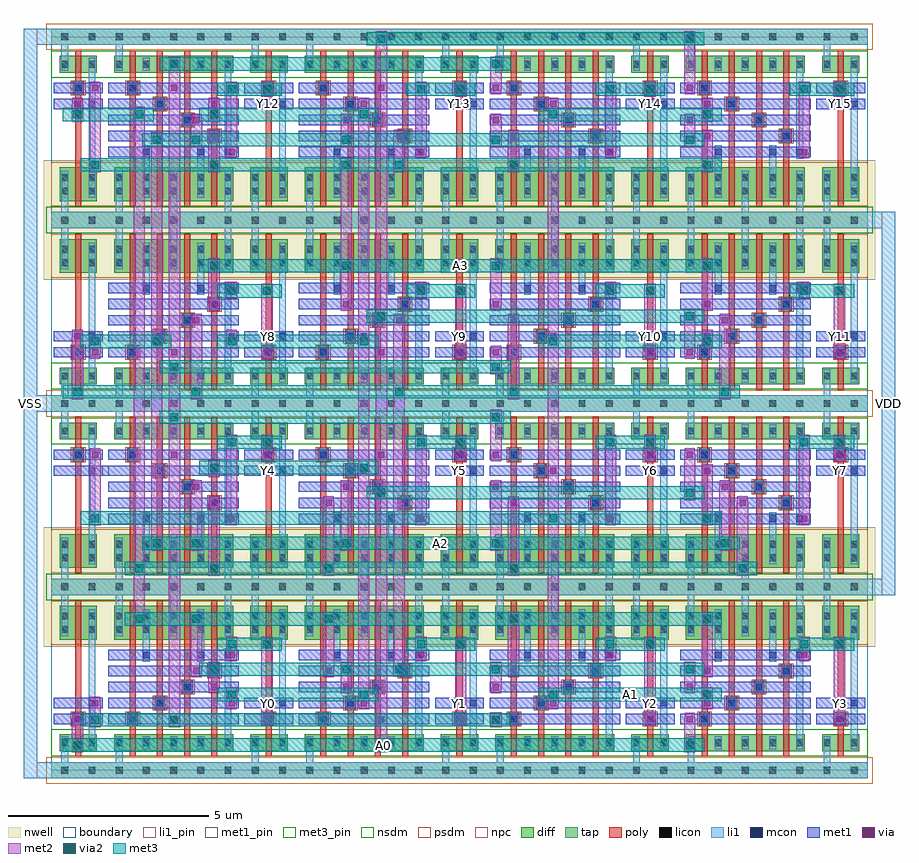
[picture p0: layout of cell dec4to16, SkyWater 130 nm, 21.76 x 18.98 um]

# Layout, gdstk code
import gdstk
lib = gdstk.Library(unit=1e-6, precision=1e-09)
def R(c, l, rs):  # rectangles x0, y0, x1, y1
    for r in rs: c.add(gdstk.rectangle(r[:2], r[2:], *l))
def A(c, l, x, y, w, h, nx, ny, dx, dy):  # array of equal rectangles
    R(c, l, [(x+i*dx, y+j*dy, x+i*dx+w, y+j*dy+h) for i in range(nx) for j in range(ny)])
nwell = (64, 20)
diff = (65, 20)
tap = (65, 44)
poly = (66, 20)
licon = (66, 44)
li1_pin = (67, 16)
li1 = (67, 20)
mcon = (67, 44)
met1_pin = (68, 16)
met1 = (68, 20)
via = (68, 44)
met2 = (69, 20)
via2 = (69, 44)
met3_pin = (70, 16)
met3 = (70, 20)
nsdm = (93, 44)
psdm = (94, 20)
npc = (95, 20)
boundary = (235, 4)

inv = lib.new_cell('inv')
R(inv, nwell, [(-0.18,3.085,1.54,4.965)])
R(inv, diff, [(0.215,0.475,1.145,0.895), (0.215,3.265,1.145,4.105)])
R(inv, tap, [(0,-0.205,1.36,0.205), (0,4.375,1.36,4.785)])
R(inv, poly, [(0.605,0.345,0.755,1.025), (0.605,1.025,0.755,3.135), (0.545,1.115,0.815,1.445), (0.605,3.135,0.755,4.235)])
R(inv, licon, [(0.255,-0.085,0.425,0.085), (0.935,-0.085,1.105,0.085), (0.255,0.6,0.425,0.77), (0.935,0.6,1.105,0.77), (0.595,1.195,0.765,1.365), (0.255,3.43,0.425,3.6), (0.935,3.43,1.105,3.6), (0.255,3.77,0.425,3.94), (0.935,3.77,1.105,3.94), (0.255,4.495,0.425,4.665), (0.935,4.495,1.105,4.665)])
R(inv, li1_pin, [(0,-0.205,1.36,0.205), (0,4.375,1.36,4.785)])
R(inv, li1, [(0,-0.205,1.36,0.205), (0.255,0,0.425,0.52), (0.255,0.52,0.425,0.85), (0.935,0.52,1.105,0.85), (0.935,0.85,1.105,1.68), (0.595,1.115,0.765,1.445), (0.935,1.515,1.105,1.845), (0.935,1.515,1.105,1.845), (0.935,1.68,1.105,3.35), (0.255,3.35,0.425,4.02), (0.935,3.35,1.105,4.02), (0.255,4.02,0.425,4.58), (0,4.375,1.36,4.785)])
R(inv, mcon, [(0.595,1.195,0.765,1.365), (0.935,1.595,1.105,1.765), (0.935,1.595,1.105,1.765)])
R(inv, met1_pin, [(0.07,1.15,1.29,1.41), (0.07,1.55,1.29,1.81)])
R(inv, met1, [(0.07,1.15,1.29,1.41), (0.495,1.165,0.865,1.395), (0.07,1.55,1.29,1.81), (0.835,1.565,1.205,1.795), (0.835,1.565,1.205,1.795)])
R(inv, nsdm, [(0,0.35,1.36,1.02), (-0.125,4.25,1.485,4.91)])
R(inv, psdm, [(-0.125,-0.33,1.485,0.33), (0,3.14,1.36,4.23)])
R(inv, npc, [(0.495,1.095,0.865,1.465)])
R(inv, boundary, [(0,0,1.36,4.58)])
inv.add(gdstk.Label('VSS', (0.68,0), layer=67, texttype=16))
inv.add(gdstk.Label('VDD', (0.68,4.58), layer=67, texttype=16))
inv.add(gdstk.Label('VSS', (0.68,0), layer=67, texttype=5))
inv.add(gdstk.Label('VDD', (0.68,4.58), layer=67, texttype=5))
inv.add(gdstk.Label('Y', (0.68,1.68), layer=68, texttype=16))
inv.add(gdstk.Label('A', (0.68,1.28), layer=68, texttype=16))
inv.add(gdstk.Label('Y', (0.68,1.68), layer=68, texttype=5))
inv.add(gdstk.Label('A', (0.68,1.28), layer=68, texttype=5))

nand4 = lib.new_cell('nand4')
R(nand4, nwell, [(-0.18,3.085,3.58,4.965)])
R(nand4, diff, [(0.215,0.475,3.185,0.895), (0.215,3.265,3.185,4.105)])
R(nand4, tap, [(0,-0.205,3.4,0.205), (0,4.375,3.4,4.785)])
A(nand4, poly, 0.605, 0.345, 0.15, 0.68, 4, 1, 0.68, 0)
A(nand4, poly, 0.605, 1.025, 0.15, 2.11, 4, 1, 0.68, 0)
A(nand4, poly, 0.605, 3.135, 0.15, 1.1, 4, 1, 0.68, 0)
R(nand4, poly, [(0.545,1.115,0.815,1.445), (1.225,1.515,1.495,1.845), (1.905,1.915,2.175,2.245), (2.585,2.315,2.855,2.645)])
A(nand4, licon, 0.255, -0.085, 0.17, 0.17, 5, 2, 0.68, 0.685)
A(nand4, licon, 0.255, 3.43, 0.17, 0.17, 5, 2, 0.68, 0.34)
A(nand4, licon, 0.255, 4.495, 0.17, 0.17, 5, 1, 0.68, 0)
R(nand4, licon, [(0.595,1.195,0.765,1.365), (1.275,1.595,1.445,1.765), (1.955,1.995,2.125,2.165), (2.635,2.395,2.805,2.565)])
R(nand4, li1_pin, [(0,-0.205,3.4,0.205), (0,4.375,3.4,4.785)])
A(nand4, li1, 0.255, 0.52, 0.17, 0.33, 5, 1, 0.68, 0)
A(nand4, li1, 0.255, 3.35, 0.17, 0.67, 5, 1, 0.68, 0)
A(nand4, li1, 0.255, 4.02, 0.17, 0.56, 3, 1, 1.36, 0)
R(nand4, li1, [(0,-0.205,3.4,0.205), (0.255,0,0.425,0.52), (2.975,0.85,3.145,2.88), (0.595,1.115,0.765,1.445), (1.275,1.515,1.445,1.845), (1.955,1.915,2.125,2.245), (2.635,2.315,2.805,2.645), (0.935,2.715,1.105,3.045), (2.295,2.715,2.465,3.045), (2.975,2.715,3.145,3.045), (0.935,2.88,1.105,3.35), (2.295,2.88,2.465,3.35), (0,4.375,3.4,4.785)])
R(nand4, mcon, [(0.595,1.195,0.765,1.365), (1.275,1.595,1.445,1.765), (1.955,1.995,2.125,2.165), (2.635,2.395,2.805,2.565), (0.935,2.795,1.105,2.965), (2.295,2.795,2.465,2.965), (2.975,2.795,3.145,2.965)])
A(nand4, met1_pin, 0.07, 1.15, 3.26, 0.26, 1, 5, 0, 0.4)
A(nand4, met1, 0.07, 1.15, 3.26, 0.26, 1, 5, 0, 0.4)
R(nand4, met1, [(0.495,1.165,0.865,1.395), (1.175,1.565,1.545,1.795), (1.855,1.965,2.225,2.195), (2.535,2.365,2.905,2.595), (0.835,2.765,1.205,2.995), (2.195,2.765,2.565,2.995), (2.875,2.765,3.245,2.995)])
R(nand4, nsdm, [(0,0.35,3.4,1.02), (-0.125,4.25,3.525,4.91)])
R(nand4, psdm, [(-0.125,-0.33,3.525,0.33), (0,3.14,3.4,4.23)])
R(nand4, npc, [(0.495,1.095,0.865,1.465), (1.175,1.495,1.545,1.865), (1.855,1.895,2.225,2.265), (2.535,2.295,2.905,2.665)])
R(nand4, boundary, [(0,0,3.4,4.58)])
nand4.add(gdstk.Label('VSS', (1.7,0), layer=67, texttype=16))
nand4.add(gdstk.Label('VDD', (1.7,4.58), layer=67, texttype=16))
nand4.add(gdstk.Label('VSS', (1.7,0), layer=67, texttype=5))
nand4.add(gdstk.Label('VDD', (1.7,4.58), layer=67, texttype=5))
nand4.add(gdstk.Label('Y', (1.7,2.88), layer=68, texttype=16))
nand4.add(gdstk.Label('A', (1.7,1.28), layer=68, texttype=16))
nand4.add(gdstk.Label('B', (1.7,1.68), layer=68, texttype=16))
nand4.add(gdstk.Label('C', (1.7,2.08), layer=68, texttype=16))
nand4.add(gdstk.Label('D', (1.7,2.48), layer=68, texttype=16))
nand4.add(gdstk.Label('Y', (1.7,2.88), layer=68, texttype=5))
nand4.add(gdstk.Label('A', (1.7,1.28), layer=68, texttype=5))
nand4.add(gdstk.Label('B', (1.7,1.68), layer=68, texttype=5))
nand4.add(gdstk.Label('C', (1.7,2.08), layer=68, texttype=5))
nand4.add(gdstk.Label('D', (1.7,2.48), layer=68, texttype=5))

dec4to16 = lib.new_cell('dec4to16')
R(dec4to16, li1_pin, [(-0.68,-0.205,-0.34,18.525), (20.74,4.375,21.08,13.945)])
A(dec4to16, li1, -0.68, -0.205, 0.68, 0.41, 1, 3, 0, 9.16)
R(dec4to16, li1, [(-0.68,-0.205,-0.34,18.525), (20.4,4.375,21.08,4.785), (20.74,4.375,21.08,13.945), (20.4,13.535,21.08,13.945)])
A(dec4to16, met1_pin, 4.83, 1.55, 1.22, 0.26, 4, 2, 4.76, 5.8)
A(dec4to16, met1_pin, 4.83, 10.71, 1.22, 0.26, 4, 2, 4.76, 5.8)
A(dec4to16, met1, 4.35, 2.75, 0.32, 0.26, 3, 2, 4.73, 3.4)
A(dec4to16, met1, 3.47, 6.95, 0.32, 0.26, 3, 2, 3.74, 9.16)
A(dec4to16, met1, 4.35, 11.91, 0.32, 0.26, 3, 2, 4.73, 3.4)
R(dec4to16, met1, [(0.5,1.15,0.82,1.41), (2.92,1.15,3.24,1.41), (5.23,1.15,5.55,1.41), (8.09,1.15,8.41,1.41), (10.07,1.15,10.39,1.41), (10.95,1.15,11.27,1.41), (14.8,1.15,15.12,1.41), (15.79,1.15,16.11,1.41), (19.53,1.15,19.85,1.41), (0.94,1.55,1.26,1.81), (4.35,1.55,4.67,1.81), (7.65,1.55,7.97,1.81), (12.38,1.55,12.7,1.81), (16.23,1.55,16.55,1.81), (3.91,1.95,4.23,2.21), (7.21,1.95,7.53,2.21), (10.95,1.95,11.27,2.21), (15.79,1.95,16.11,2.21), (3.47,2.35,3.79,2.61), (6.77,2.35,7.09,2.61), (11.39,2.35,11.71,2.61), (16.23,2.35,16.55,2.61), (18.65,2.75,18.97,3.01), (18.65,6.15,18.97,6.41), (3.91,6.55,4.23,6.81), (6.77,6.55,7.09,6.81), (11.39,6.55,11.71,6.81), (17.11,6.55,17.43,6.81), (16.67,6.95,16.99,7.21), (1.29,7.35,1.43,7.61), (3.91,7.35,4.23,7.61), (7.65,7.35,7.97,7.61), (12.38,7.35,12.7,7.61), (16.23,7.35,16.55,7.61), (0.94,7.75,1.26,8.01), (2.92,7.75,3.24,8.01), (5.23,7.75,5.55,8.01), (8.09,7.75,8.41,8.01), (10.07,7.75,10.39,8.01), (10.95,7.75,11.27,8.01), (14.8,7.75,15.12,8.01), (15.79,7.75,16.11,8.01), (19.53,7.75,19.85,8.01), (0.94,10.31,1.26,10.57), (2.92,10.31,3.24,10.57), (5.23,10.31,5.55,10.57), (8.09,10.31,8.41,10.57), (10.07,10.31,10.39,10.57), (10.95,10.31,11.27,10.57), (14.8,10.31,15.12,10.57), (15.79,10.31,16.11,10.57), (19.53,10.31,19.85,10.57), (0.5,10.71,0.82,10.97), (4.35,10.71,4.67,10.97), (7.65,10.71,7.97,10.97), (12.38,10.71,12.7,10.97), (16.23,10.71,16.55,10.97), (3.47,11.11,3.79,11.37), (8.53,11.11,8.85,11.37), (11.39,11.11,11.71,11.37), (16.67,11.11,16.99,11.37), (3.91,11.51,4.23,11.77), (7.21,11.51,7.53,11.77), (10.95,11.51,11.27,11.77), (16.23,11.51,16.55,11.77), (18.65,11.91,18.97,12.17), (18.65,15.31,18.97,15.57), (3.91,15.71,4.23,15.97), (8.53,15.71,8.85,15.97), (11.39,15.71,11.71,15.97), (16.23,15.71,16.55,15.97), (15.79,16.11,16.11,16.37), (0.5,16.51,0.82,16.77), (3.91,16.51,4.23,16.77), (7.65,16.51,7.97,16.77), (12.38,16.51,12.7,16.77), (16.23,16.51,16.55,16.77), (0.94,16.91,1.26,17.17), (2.92,16.91,3.24,17.17), (5.23,16.91,5.55,17.17), (8.09,16.91,8.41,17.17), (10.07,16.91,10.39,17.17), (10.95,16.91,11.27,17.17), (14.8,16.91,15.12,17.17), (15.79,16.91,16.11,17.17), (19.53,16.91,19.85,17.17)])
A(dec4to16, via, 4.435, 2.805, 0.15, 0.15, 3, 2, 4.73, 3.4)
A(dec4to16, via, 3.555, 7.005, 0.15, 0.15, 3, 2, 3.74, 9.16)
A(dec4to16, via, 4.435, 11.965, 0.15, 0.15, 3, 2, 4.73, 3.4)
R(dec4to16, via, [(0.585,1.205,0.735,1.355), (3.005,1.205,3.155,1.355), (5.315,1.205,5.465,1.355), (8.175,1.205,8.325,1.355), (10.155,1.205,10.305,1.355), (11.035,1.205,11.185,1.355), (14.885,1.205,15.035,1.355), (15.875,1.205,16.025,1.355), (19.615,1.205,19.765,1.355), (1.025,1.605,1.175,1.755), (4.435,1.605,4.585,1.755), (7.735,1.605,7.885,1.755), (12.465,1.605,12.615,1.755), (16.315,1.605,16.465,1.755), (3.995,2.005,4.145,2.155), (7.295,2.005,7.445,2.155), (11.035,2.005,11.185,2.155), (15.875,2.005,16.025,2.155), (3.555,2.405,3.705,2.555), (6.855,2.405,7.005,2.555), (11.475,2.405,11.625,2.555), (16.315,2.405,16.465,2.555), (18.735,2.805,18.885,2.955), (18.735,6.205,18.885,6.355), (3.995,6.605,4.145,6.755), (6.855,6.605,7.005,6.755), (11.475,6.605,11.625,6.755), (17.195,6.605,17.345,6.755), (16.755,7.005,16.905,7.155), (3.995,7.405,4.145,7.555), (7.735,7.405,7.885,7.555), (12.465,7.405,12.615,7.555), (16.315,7.405,16.465,7.555), (1.025,7.805,1.175,7.955), (3.005,7.805,3.155,7.955), (5.315,7.805,5.465,7.955), (8.175,7.805,8.325,7.955), (10.155,7.805,10.305,7.955), (11.035,7.805,11.185,7.955), (14.885,7.805,15.035,7.955), (15.875,7.805,16.025,7.955), (19.615,7.805,19.765,7.955), (1.025,10.365,1.175,10.515), (3.005,10.365,3.155,10.515), (5.315,10.365,5.465,10.515), (8.175,10.365,8.325,10.515), (10.155,10.365,10.305,10.515), (11.035,10.365,11.185,10.515), (14.885,10.365,15.035,10.515), (15.875,10.365,16.025,10.515), (19.615,10.365,19.765,10.515), (0.585,10.765,0.735,10.915), (4.435,10.765,4.585,10.915), (7.735,10.765,7.885,10.915), (12.465,10.765,12.615,10.915), (16.315,10.765,16.465,10.915), (3.555,11.165,3.705,11.315), (8.615,11.165,8.765,11.315), (11.475,11.165,11.625,11.315), (16.755,11.165,16.905,11.315), (3.995,11.565,4.145,11.715), (7.295,11.565,7.445,11.715), (11.035,11.565,11.185,11.715), (16.315,11.565,16.465,11.715), (18.735,11.965,18.885,12.115), (18.735,15.365,18.885,15.515), (3.995,15.765,4.145,15.915), (8.615,15.765,8.765,15.915), (11.475,15.765,11.625,15.915), (16.315,15.765,16.465,15.915), (15.875,16.165,16.025,16.315), (0.585,16.565,0.735,16.715), (3.995,16.565,4.145,16.715), (7.735,16.565,7.885,16.715), (12.465,16.565,12.615,16.715), (16.315,16.565,16.465,16.715), (1.025,16.965,1.175,17.115), (3.005,16.965,3.155,17.115), (5.315,16.965,5.465,17.115), (8.175,16.965,8.325,17.115), (10.155,16.965,10.305,17.115), (11.035,16.965,11.185,17.115), (14.885,16.965,15.035,17.115), (15.875,16.965,16.025,17.115), (19.615,16.965,19.765,17.115)])
A(dec4to16, met2, 10.09, 1.28, 0.28, 1.87, 3, 1, 4.73, 0)
A(dec4to16, met2, 3.93, 2.335, 0.28, 0.37, 1, 3, 0, 2.52)
A(dec4to16, met2, 15.81, 2.335, 0.28, 0.37, 1, 4, 0, 4.41)
A(dec4to16, met2, 4.38, 2.72, 0.26, 0.32, 3, 2, 4.73, 3.4)
A(dec4to16, met2, 4.37, 2.88, 0.28, 0.27, 3, 1, 4.73, 0)
A(dec4to16, met2, 2.5, 5.485, 0.28, 0.37, 1, 3, 0, 5.04)
A(dec4to16, met2, 3.49, 5.485, 0.28, 0.37, 3, 2, 3.74, 10.08)
A(dec4to16, met2, 3.49, 5.67, 0.28, 1.41, 3, 1, 3.74, 0)
A(dec4to16, met2, 0.96, 6.115, 0.28, 0.37, 1, 3, 0, 4.41)
A(dec4to16, met2, 4.37, 6.28, 0.28, 1.91, 3, 1, 4.73, 0)
A(dec4to16, met2, 3.5, 6.92, 0.26, 0.32, 3, 2, 3.74, 9.16)
A(dec4to16, met2, 10.09, 7.88, 0.28, 0.31, 3, 1, 4.73, 0)
A(dec4to16, met2, 10.09, 10.44, 0.28, 1.53, 3, 1, 4.73, 0)
A(dec4to16, met2, 4.38, 11.88, 0.26, 0.32, 3, 2, 4.73, 3.4)
A(dec4to16, met2, 4.37, 11.97, 0.28, 0.07, 3, 1, 4.73, 0)
A(dec4to16, met2, 4.37, 15.44, 0.28, 1.57, 3, 1, 4.73, 0)
A(dec4to16, met2, 3.49, 15.75, 0.28, 0.49, 3, 1, 3.74, 0)
A(dec4to16, met2, 10.09, 17.01, 0.28, 0.03, 3, 1, 4.73, 0)
R(dec4to16, met2, [(0.52,0.445,0.8,0.815), (8.11,0.445,8.39,0.815), (8.11,0.445,8.39,0.815), (15.81,0.445,16.09,0.815), (0.52,0.63,0.8,1.28), (8.11,0.63,8.39,18.27), (8.11,0.63,8.39,1.28), (15.81,0.63,16.09,1.28), (0.96,1.075,1.24,1.445), (2.94,1.075,3.22,1.445), (2.94,1.075,3.22,1.445), (10.97,1.075,11.25,1.445), (0.53,1.12,0.79,1.44), (2.95,1.12,3.21,1.44), (5.26,1.12,5.52,1.44), (8.12,1.12,8.38,1.44), (10.1,1.12,10.36,1.44), (10.98,1.12,11.24,1.44), (14.83,1.12,15.09,1.44), (15.82,1.12,16.08,1.44), (19.56,1.12,19.82,1.44), (0.96,1.26,1.24,1.68), (2.94,1.26,3.22,17.64), (2.94,1.26,3.22,1.28), (10.97,1.26,11.25,1.28), (5.25,1.28,5.53,3.15), (0.97,1.52,1.23,1.84), (4.38,1.52,4.64,1.84), (7.68,1.52,7.94,1.84), (12.41,1.52,12.67,1.84), (16.26,1.52,16.52,1.84), (4.37,1.68,4.65,1.89), (7.67,1.68,7.95,1.89), (12.4,1.68,12.68,1.89), (16.25,1.68,16.53,1.89), (4.37,1.705,4.65,2.075), (7.67,1.705,7.95,2.075), (7.67,1.705,7.95,2.075), (12.4,1.705,12.68,2.075), (12.4,1.705,12.68,2.075), (16.25,1.705,16.53,2.075), (7.67,1.89,7.95,16.38), (12.4,1.89,12.68,16.38), (3.94,1.92,4.2,2.24), (7.24,1.92,7.5,2.24), (10.98,1.92,11.24,2.24), (15.82,1.92,16.08,2.24), (3.93,2.08,4.21,2.52), (7.23,2.08,7.51,2.52), (10.97,2.08,11.25,2.52), (15.81,2.08,16.09,2.52), (3.5,2.32,3.76,2.64), (6.8,2.32,7.06,2.64), (11.42,2.32,11.68,2.64), (16.26,2.32,16.52,2.64), (7.23,2.335,7.51,2.705), (8.55,2.335,8.83,2.705), (10.97,2.335,11.25,2.705), (3.49,2.48,3.77,3.78), (6.79,2.48,7.07,3.78), (11.41,2.48,11.69,3.78), (16.25,2.48,16.53,3.78), (8.55,2.52,8.83,9.45), (18.68,2.72,18.94,3.04), (18.67,2.88,18.95,3.15), (4.37,2.965,4.65,3.335), (5.25,2.965,5.53,3.335), (9.1,2.965,9.38,3.335), (10.09,2.965,10.37,3.335), (13.83,2.965,14.11,3.335), (14.82,2.965,15.1,3.335), (18.67,2.965,18.95,3.335), (19.55,2.965,19.83,3.335), (2.06,3.595,2.34,3.965), (3.49,3.595,3.77,3.965), (6.79,3.595,7.07,3.965), (11.41,3.595,11.69,3.965), (16.25,3.595,16.53,3.965), (2.06,3.78,2.34,16.38), (2.06,4.855,2.34,5.225), (6.79,4.855,7.07,5.225), (11.41,4.855,11.69,5.225), (17.13,4.855,17.41,5.225), (3.93,5.04,4.21,6.68), (6.79,5.04,7.07,6.68), (11.41,5.04,11.69,6.68), (17.13,5.04,17.41,6.68), (16.69,5.485,16.97,5.855), (2.5,5.67,2.78,15.75), (16.69,5.67,16.97,7.08), (12.4,6.115,12.68,6.485), (12.4,6.115,12.68,6.485), (16.25,6.115,16.53,6.485), (18.68,6.12,18.94,6.44), (18.67,6.28,18.95,8.19), (0.96,6.3,1.24,7.88), (12.4,6.3,12.68,7.48), (16.25,6.3,16.53,7.48), (3.94,6.52,4.2,6.84), (6.8,6.52,7.06,6.84), (11.42,6.52,11.68,6.84), (17.14,6.52,17.4,6.84), (8.11,6.745,8.39,7.115), (8.11,6.745,8.39,7.115), (16.7,6.92,16.96,7.24), (8.11,6.93,8.39,7.88), (15.81,6.93,16.09,7.88), (3.94,7.32,4.2,7.64), (7.68,7.32,7.94,7.64), (12.41,7.32,12.67,7.64), (16.26,7.32,16.52,7.64), (7.67,7.375,7.95,7.745), (7.67,7.375,7.95,7.745), (3.93,7.48,4.21,7.56), (7.67,7.48,7.95,7.56), (0.97,7.72,1.23,8.04), (2.95,7.72,3.21,8.04), (5.26,7.72,5.52,8.04), (8.12,7.72,8.38,8.04), (10.1,7.72,10.36,8.04), (10.98,7.72,11.24,8.04), (14.83,7.72,15.09,8.04), (15.82,7.72,16.08,8.04), (19.56,7.72,19.82,8.04), (2.94,7.88,3.22,8.82), (5.25,7.88,5.53,8.19), (10.97,7.88,11.25,8.82), (4.37,8.005,4.65,8.375), (5.25,8.005,5.53,8.375), (9.1,8.005,9.38,8.375), (10.09,8.005,10.37,8.375), (13.83,8.005,14.11,8.375), (14.82,8.005,15.1,8.375), (18.67,8.005,18.95,8.375), (19.55,8.005,19.83,8.375), (2.94,8.635,3.22,9.005), (2.94,8.635,3.22,9.005), (10.97,8.635,11.25,9.005), (0.52,9.265,0.8,9.635), (3.49,9.265,3.77,9.635), (8.55,9.265,8.83,9.635), (8.55,9.265,8.83,9.635), (11.41,9.265,11.69,9.635), (16.69,9.265,16.97,9.635), (0.52,9.45,0.8,10.84), (3.49,9.45,3.77,11.24), (8.55,9.45,8.83,11.24), (11.41,9.45,11.69,11.24), (16.69,9.45,16.97,11.24), (2.94,9.895,3.22,10.265), (2.94,9.895,3.22,10.265), (10.97,9.895,11.25,10.265), (2.94,10.08,3.22,10.44), (10.97,10.08,11.25,10.44), (0.97,10.28,1.23,10.6), (2.95,10.28,3.21,10.6), (5.26,10.28,5.52,10.6), (8.12,10.28,8.38,10.6), (10.1,10.28,10.36,10.6), (10.98,10.28,11.24,10.6), (14.83,10.28,15.09,10.6), (15.82,10.28,16.08,10.6), (19.56,10.28,19.82,10.6), (0.96,10.44,1.24,10.71), (5.25,10.44,5.53,11.97), (8.11,10.44,8.39,11.34), (15.81,10.44,16.09,11.34), (4.37,10.525,4.65,10.895), (7.67,10.525,7.95,10.895), (7.67,10.525,7.95,10.895), (12.4,10.525,12.68,10.895), (12.4,10.525,12.68,10.895), (16.25,10.525,16.53,10.895), (0.53,10.68,0.79,11), (4.38,10.68,4.64,11), (7.68,10.68,7.94,11), (12.41,10.68,12.67,11), (16.26,10.68,16.52,11), (4.37,10.71,4.65,10.84), (7.67,10.71,7.95,10.84), (12.4,10.71,12.68,10.84), (16.25,10.71,16.53,10.84), (3.5,11.08,3.76,11.4), (8.56,11.08,8.82,11.4), (11.42,11.08,11.68,11.4), (16.7,11.08,16.96,11.4), (8.11,11.155,8.39,11.525), (8.11,11.155,8.39,11.525), (3.94,11.48,4.2,11.8), (7.24,11.48,7.5,11.8), (10.98,11.48,11.24,11.8), (16.26,11.48,16.52,11.8), (3.93,11.64,4.21,12.6), (7.23,11.64,7.51,12.6), (10.97,11.64,11.25,12.6), (16.25,11.64,16.53,12.6), (4.37,11.785,4.65,12.155), (5.25,11.785,5.53,12.155), (9.1,11.785,9.38,12.155), (10.09,11.785,10.37,12.155), (13.83,11.785,14.11,12.155), (14.82,11.785,15.1,12.155), (18.67,11.785,18.95,12.155), (19.55,11.785,19.83,12.155), (18.68,11.88,18.94,12.2), (18.67,11.97,18.95,12.04), (3.93,12.415,4.21,12.785), (7.23,12.415,7.51,12.785), (7.23,12.415,7.51,12.785), (10.97,12.415,11.25,12.785), (16.25,12.415,16.53,12.785), (7.23,12.6,7.51,15.12), (3.93,14.935,4.21,15.305), (7.23,14.935,7.51,15.305), (8.55,14.935,8.83,15.305), (11.41,14.935,11.69,15.305), (16.25,14.935,16.53,15.305), (0.96,15.12,1.24,17.04), (3.93,15.12,4.21,15.84), (8.55,15.12,8.83,15.84), (11.41,15.12,11.69,15.84), (16.25,15.12,16.53,15.84), (18.68,15.28,18.94,15.6), (18.67,15.44,18.95,17.01), (3.94,15.68,4.2,16), (8.56,15.68,8.82,16), (11.42,15.68,11.68,16), (16.26,15.68,16.52,16), (15.81,15.75,16.09,16.24), (15.82,16.08,16.08,16.4), (0.52,16.195,0.8,16.565), (2.06,16.195,2.34,16.565), (3.93,16.195,4.21,16.565), (7.67,16.195,7.95,16.565), (7.67,16.195,7.95,16.565), (12.4,16.195,12.68,16.565), (12.4,16.195,12.68,16.565), (16.25,16.195,16.53,16.565), (0.52,16.38,0.8,16.64), (3.93,16.38,4.21,16.64), (7.67,16.38,7.95,16.64), (12.4,16.38,12.68,16.64), (16.25,16.38,16.53,16.64), (0.53,16.48,0.79,16.8), (3.94,16.48,4.2,16.8), (7.68,16.48,7.94,16.8), (12.41,16.48,12.67,16.8), (16.26,16.48,16.52,16.8), (4.37,16.825,4.65,17.195), (5.25,16.825,5.53,17.195), (9.1,16.825,9.38,17.195), (10.09,16.825,10.37,17.195), (13.83,16.825,14.11,17.195), (14.82,16.825,15.1,17.195), (18.67,16.825,18.95,17.195), (19.55,16.825,19.83,17.195), (0.97,16.88,1.23,17.2), (2.95,16.88,3.21,17.2), (5.26,16.88,5.52,17.2), (8.12,16.88,8.38,17.2), (10.1,16.88,10.36,17.2), (10.98,16.88,11.24,17.2), (14.83,16.88,15.09,17.2), (15.82,16.88,16.08,17.2), (19.56,16.88,19.82,17.2), (5.25,17.01,5.53,17.04), (2.94,17.04,3.22,17.64), (8.11,17.04,8.39,18.27), (10.97,17.04,11.25,17.64), (15.81,17.04,16.09,18.27), (2.94,17.455,3.22,17.825), (2.94,17.455,3.22,17.825), (10.97,17.455,11.25,17.825), (8.11,18.085,8.39,18.455), (8.11,18.085,8.39,18.455), (15.81,18.085,16.09,18.455)])
A(dec4to16, via2, 3.97, 2.42, 0.2, 0.2, 1, 3, 0, 2.52)
A(dec4to16, via2, 15.85, 2.42, 0.2, 0.2, 1, 4, 0, 4.41)
A(dec4to16, via2, 2.54, 5.57, 0.2, 0.2, 1, 3, 0, 5.04)
A(dec4to16, via2, 3.53, 5.57, 0.2, 0.2, 3, 2, 3.74, 10.08)
A(dec4to16, via2, 1, 6.2, 0.2, 0.2, 1, 3, 0, 4.41)
R(dec4to16, via2, [(0.56,0.53,0.76,0.73), (8.15,0.53,8.35,0.73), (8.15,0.53,8.35,0.73), (15.85,0.53,16.05,0.73), (1,1.16,1.2,1.36), (2.98,1.16,3.18,1.36), (2.98,1.16,3.18,1.36), (11.01,1.16,11.21,1.36), (4.41,1.79,4.61,1.99), (7.71,1.79,7.91,1.99), (7.71,1.79,7.91,1.99), (12.44,1.79,12.64,1.99), (12.44,1.79,12.64,1.99), (16.29,1.79,16.49,1.99), (7.27,2.42,7.47,2.62), (8.59,2.42,8.79,2.62), (11.01,2.42,11.21,2.62), (4.41,3.05,4.61,3.25), (5.29,3.05,5.49,3.25), (9.14,3.05,9.34,3.25), (10.13,3.05,10.33,3.25), (13.87,3.05,14.07,3.25), (14.86,3.05,15.06,3.25), (18.71,3.05,18.91,3.25), (19.59,3.05,19.79,3.25), (2.1,3.68,2.3,3.88), (3.53,3.68,3.73,3.88), (6.83,3.68,7.03,3.88), (11.45,3.68,11.65,3.88), (16.29,3.68,16.49,3.88), (2.1,4.94,2.3,5.14), (6.83,4.94,7.03,5.14), (11.45,4.94,11.65,5.14), (17.17,4.94,17.37,5.14), (16.73,5.57,16.93,5.77), (12.44,6.2,12.64,6.4), (12.44,6.2,12.64,6.4), (16.29,6.2,16.49,6.4), (8.15,6.83,8.35,7.03), (8.15,6.83,8.35,7.03), (7.71,7.46,7.91,7.66), (7.71,7.46,7.91,7.66), (4.41,8.09,4.61,8.29), (5.29,8.09,5.49,8.29), (9.14,8.09,9.34,8.29), (10.13,8.09,10.33,8.29), (13.87,8.09,14.07,8.29), (14.86,8.09,15.06,8.29), (18.71,8.09,18.91,8.29), (19.59,8.09,19.79,8.29), (2.98,8.72,3.18,8.92), (2.98,8.72,3.18,8.92), (11.01,8.72,11.21,8.92), (0.56,9.35,0.76,9.55), (3.53,9.35,3.73,9.55), (8.59,9.35,8.79,9.55), (8.59,9.35,8.79,9.55), (11.45,9.35,11.65,9.55), (16.73,9.35,16.93,9.55), (2.98,9.98,3.18,10.18), (2.98,9.98,3.18,10.18), (11.01,9.98,11.21,10.18), (4.41,10.61,4.61,10.81), (7.71,10.61,7.91,10.81), (7.71,10.61,7.91,10.81), (12.44,10.61,12.64,10.81), (12.44,10.61,12.64,10.81), (16.29,10.61,16.49,10.81), (8.15,11.24,8.35,11.44), (8.15,11.24,8.35,11.44), (4.41,11.87,4.61,12.07), (5.29,11.87,5.49,12.07), (9.14,11.87,9.34,12.07), (10.13,11.87,10.33,12.07), (13.87,11.87,14.07,12.07), (14.86,11.87,15.06,12.07), (18.71,11.87,18.91,12.07), (19.59,11.87,19.79,12.07), (3.97,12.5,4.17,12.7), (7.27,12.5,7.47,12.7), (7.27,12.5,7.47,12.7), (11.01,12.5,11.21,12.7), (16.29,12.5,16.49,12.7), (3.97,15.02,4.17,15.22), (7.27,15.02,7.47,15.22), (8.59,15.02,8.79,15.22), (11.45,15.02,11.65,15.22), (16.29,15.02,16.49,15.22), (0.56,16.28,0.76,16.48), (2.1,16.28,2.3,16.48), (3.97,16.28,4.17,16.48), (7.71,16.28,7.91,16.48), (7.71,16.28,7.91,16.48), (12.44,16.28,12.64,16.48), (12.44,16.28,12.64,16.48), (16.29,16.28,16.49,16.48), (4.41,16.91,4.61,17.11), (5.29,16.91,5.49,17.11), (9.14,16.91,9.34,17.11), (10.13,16.91,10.33,17.11), (13.87,16.91,14.07,17.11), (14.86,16.91,15.06,17.11), (18.71,16.91,18.91,17.11), (19.59,16.91,19.79,17.11), (2.98,17.54,3.18,17.74), (2.98,17.54,3.18,17.74), (11.01,17.54,11.21,17.74), (8.15,18.17,8.35,18.37), (8.15,18.17,8.35,18.37), (15.85,18.17,16.05,18.37)])
R(dec4to16, met3_pin, [(0.66,0.465,15.95,0.795), (12.54,1.725,16.39,2.055), (2.64,5.505,16.83,5.835), (4.07,12.435,16.39,12.765)])
A(dec4to16, met3, 3.705, 2.355, 0.73, 0.33, 1, 3, 0, 2.52)
A(dec4to16, met3, 15.585, 2.355, 0.73, 0.33, 1, 4, 0, 4.41)
A(dec4to16, met3, 2.275, 5.505, 0.73, 0.33, 1, 3, 0, 5.04)
A(dec4to16, met3, 3.265, 5.505, 0.73, 0.33, 3, 2, 3.74, 10.08)
A(dec4to16, met3, 0.735, 6.135, 0.73, 0.33, 1, 3, 0, 4.41)
R(dec4to16, met3, [(0.295,0.465,1.025,0.795), (0.66,0.465,15.95,0.795), (7.885,0.465,8.615,0.795), (7.885,0.465,8.615,0.795), (15.585,0.465,16.315,0.795), (0.735,1.095,1.465,1.425), (1.1,1.095,11.11,1.425), (2.715,1.095,3.445,1.425), (2.715,1.095,3.445,1.425), (10.745,1.095,11.475,1.425), (4.145,1.725,4.875,2.055), (4.51,1.725,7.81,2.055), (7.445,1.725,8.175,2.055), (7.445,1.725,8.175,2.055), (12.175,1.725,12.905,2.055), (12.175,1.725,12.905,2.055), (12.54,1.725,16.39,2.055), (16.025,1.725,16.755,2.055), (4.07,2.355,15.95,2.685), (7.005,2.355,7.735,2.685), (8.325,2.355,9.055,2.685), (10.745,2.355,11.475,2.685), (4.145,2.985,4.875,3.315), (4.51,2.985,5.39,3.315), (5.025,2.985,5.755,3.315), (8.875,2.985,9.605,3.315), (9.24,2.985,10.23,3.315), (9.865,2.985,10.595,3.315), (13.605,2.985,14.335,3.315), (13.97,2.985,14.96,3.315), (14.595,2.985,15.325,3.315), (18.445,2.985,19.175,3.315), (18.81,2.985,19.69,3.315), (19.325,2.985,20.055,3.315), (1.835,3.615,2.565,3.945), (2.2,3.615,16.39,3.945), (3.265,3.615,3.995,3.945), (6.565,3.615,7.295,3.945), (11.185,3.615,11.915,3.945), (16.025,3.615,16.755,3.945), (1.835,4.875,2.565,5.205), (2.2,4.875,17.27,5.205), (6.565,4.875,7.295,5.205), (11.185,4.875,11.915,5.205), (16.905,4.875,17.635,5.205), (2.64,5.505,16.83,5.835), (16.465,5.505,17.195,5.835), (1.1,6.135,16.39,6.465), (12.175,6.135,12.905,6.465), (12.175,6.135,12.905,6.465), (16.025,6.135,16.755,6.465), (7.885,6.765,8.615,7.095), (7.885,6.765,8.615,7.095), (8.25,6.765,15.95,7.095), (4.07,7.395,7.81,7.725), (7.445,7.395,8.175,7.725), (7.445,7.395,8.175,7.725), (4.145,8.025,4.875,8.355), (4.51,8.025,5.39,8.355), (5.025,8.025,5.755,8.355), (8.875,8.025,9.605,8.355), (9.24,8.025,10.23,8.355), (9.865,8.025,10.595,8.355), (13.605,8.025,14.335,8.355), (13.97,8.025,14.96,8.355), (14.595,8.025,15.325,8.355), (18.445,8.025,19.175,8.355), (18.81,8.025,19.69,8.355), (19.325,8.025,20.055,8.355), (2.715,8.655,3.445,8.985), (2.715,8.655,3.445,8.985), (3.08,8.655,11.11,8.985), (10.745,8.655,11.475,8.985), (0.295,9.285,1.025,9.615), (0.66,9.285,16.83,9.615), (3.265,9.285,3.995,9.615), (8.325,9.285,9.055,9.615), (8.325,9.285,9.055,9.615), (11.185,9.285,11.915,9.615), (16.465,9.285,17.195,9.615), (2.715,9.915,3.445,10.245), (2.715,9.915,3.445,10.245), (3.08,9.915,11.11,10.245), (10.745,9.915,11.475,10.245), (1.1,10.545,2.64,10.875), (4.145,10.545,4.875,10.875), (4.51,10.545,7.81,10.875), (7.445,10.545,8.175,10.875), (7.445,10.545,8.175,10.875), (12.175,10.545,12.905,10.875), (12.175,10.545,12.905,10.875), (12.54,10.545,16.39,10.875), (16.025,10.545,16.755,10.875), (7.885,11.175,8.615,11.505), (7.885,11.175,8.615,11.505), (8.25,11.175,15.95,11.505), (4.145,11.805,4.875,12.135), (4.51,11.805,5.39,12.135), (5.025,11.805,5.755,12.135), (8.875,11.805,9.605,12.135), (9.24,11.805,10.23,12.135), (9.865,11.805,10.595,12.135), (13.605,11.805,14.335,12.135), (13.97,11.805,14.96,12.135), (14.595,11.805,15.325,12.135), (18.445,11.805,19.175,12.135), (18.81,11.805,19.69,12.135), (19.325,11.805,20.055,12.135), (3.705,12.435,4.435,12.765), (4.07,12.435,16.39,12.765), (7.005,12.435,7.735,12.765), (7.005,12.435,7.735,12.765), (10.745,12.435,11.475,12.765), (16.025,12.435,16.755,12.765), (1.1,14.955,16.39,15.285), (3.705,14.955,4.435,15.285), (7.005,14.955,7.735,15.285), (8.325,14.955,9.055,15.285), (11.185,14.955,11.915,15.285), (16.025,14.955,16.755,15.285), (2.64,15.585,15.95,15.915), (0.295,16.215,1.025,16.545), (0.66,16.215,2.2,16.545), (1.835,16.215,2.565,16.545), (3.705,16.215,4.435,16.545), (4.07,16.215,7.81,16.545), (7.445,16.215,8.175,16.545), (7.445,16.215,8.175,16.545), (12.175,16.215,12.905,16.545), (12.175,16.215,12.905,16.545), (12.54,16.215,16.39,16.545), (16.025,16.215,16.755,16.545), (4.145,16.845,4.875,17.175), (4.51,16.845,5.39,17.175), (5.025,16.845,5.755,17.175), (8.875,16.845,9.605,17.175), (9.24,16.845,10.23,17.175), (9.865,16.845,10.595,17.175), (13.605,16.845,14.335,17.175), (13.97,16.845,14.96,17.175), (14.595,16.845,15.325,17.175), (18.445,16.845,19.175,17.175), (18.81,16.845,19.69,17.175), (19.325,16.845,20.055,17.175), (2.715,17.475,3.445,17.805), (2.715,17.475,3.445,17.805), (3.08,17.475,11.11,17.805), (10.745,17.475,11.475,17.805), (7.885,18.105,8.615,18.435), (7.885,18.105,8.615,18.435), (8.25,18.105,15.95,18.435), (15.585,18.105,16.315,18.435)])
dec4to16.add(gdstk.Reference(inv, (0,0)))
dec4to16.add(gdstk.Reference(nand4, (1.36,0)))
dec4to16.add(gdstk.Reference(inv, (4.76,0)))
dec4to16.add(gdstk.Reference(nand4, (6.12,0)))
dec4to16.add(gdstk.Reference(inv, (9.52,0)))
dec4to16.add(gdstk.Reference(nand4, (10.88,0)))
dec4to16.add(gdstk.Reference(inv, (14.28,0)))
dec4to16.add(gdstk.Reference(nand4, (15.64,0)))
dec4to16.add(gdstk.Reference(inv, (19.04,0)))
dec4to16.add(gdstk.Reference(inv, (0,9.16), x_reflection=True))
dec4to16.add(gdstk.Reference(nand4, (1.36,9.16), x_reflection=True))
dec4to16.add(gdstk.Reference(inv, (4.76,9.16), x_reflection=True))
dec4to16.add(gdstk.Reference(nand4, (6.12,9.16), x_reflection=True))
dec4to16.add(gdstk.Reference(inv, (9.52,9.16), x_reflection=True))
dec4to16.add(gdstk.Reference(nand4, (10.88,9.16), x_reflection=True))
dec4to16.add(gdstk.Reference(inv, (14.28,9.16), x_reflection=True))
dec4to16.add(gdstk.Reference(nand4, (15.64,9.16), x_reflection=True))
dec4to16.add(gdstk.Reference(inv, (19.04,9.16), x_reflection=True))
dec4to16.add(gdstk.Reference(inv, (0,9.16)))
dec4to16.add(gdstk.Reference(nand4, (1.36,9.16)))
dec4to16.add(gdstk.Reference(inv, (4.76,9.16)))
dec4to16.add(gdstk.Reference(nand4, (6.12,9.16)))
dec4to16.add(gdstk.Reference(inv, (9.52,9.16)))
dec4to16.add(gdstk.Reference(nand4, (10.88,9.16)))
dec4to16.add(gdstk.Reference(inv, (14.28,9.16)))
dec4to16.add(gdstk.Reference(nand4, (15.64,9.16)))
dec4to16.add(gdstk.Reference(inv, (19.04,9.16)))
dec4to16.add(gdstk.Reference(inv, (0,18.32), x_reflection=True))
dec4to16.add(gdstk.Reference(nand4, (1.36,18.32), x_reflection=True))
dec4to16.add(gdstk.Reference(inv, (4.76,18.32), x_reflection=True))
dec4to16.add(gdstk.Reference(nand4, (6.12,18.32), x_reflection=True))
dec4to16.add(gdstk.Reference(inv, (9.52,18.32), x_reflection=True))
dec4to16.add(gdstk.Reference(nand4, (10.88,18.32), x_reflection=True))
dec4to16.add(gdstk.Reference(inv, (14.28,18.32), x_reflection=True))
dec4to16.add(gdstk.Reference(nand4, (15.64,18.32), x_reflection=True))
dec4to16.add(gdstk.Reference(inv, (19.04,18.32), x_reflection=True))
dec4to16.add(gdstk.Label('VSS', (-0.51,9.16), layer=67, texttype=16))
dec4to16.add(gdstk.Label('VDD', (20.91,9.16), layer=67, texttype=16))
dec4to16.add(gdstk.Label('VSS', (-0.51,9.16), layer=67, texttype=5))
dec4to16.add(gdstk.Label('VDD', (20.91,9.16), layer=67, texttype=5))
dec4to16.add(gdstk.Label('Y0', (5.44,1.68), layer=68, texttype=16))
dec4to16.add(gdstk.Label('Y1', (10.2,1.68), layer=68, texttype=16))
dec4to16.add(gdstk.Label('Y10', (14.96,10.84), layer=68, texttype=16))
dec4to16.add(gdstk.Label('Y11', (19.72,10.84), layer=68, texttype=16))
dec4to16.add(gdstk.Label('Y12', (5.44,16.64), layer=68, texttype=16))
dec4to16.add(gdstk.Label('Y13', (10.2,16.64), layer=68, texttype=16))
dec4to16.add(gdstk.Label('Y14', (14.96,16.64), layer=68, texttype=16))
dec4to16.add(gdstk.Label('Y15', (19.72,16.64), layer=68, texttype=16))
dec4to16.add(gdstk.Label('Y2', (14.96,1.68), layer=68, texttype=16))
dec4to16.add(gdstk.Label('Y3', (19.72,1.68), layer=68, texttype=16))
dec4to16.add(gdstk.Label('Y4', (5.44,7.48), layer=68, texttype=16))
dec4to16.add(gdstk.Label('Y5', (10.2,7.48), layer=68, texttype=16))
dec4to16.add(gdstk.Label('Y6', (14.96,7.48), layer=68, texttype=16))
dec4to16.add(gdstk.Label('Y7', (19.72,7.48), layer=68, texttype=16))
dec4to16.add(gdstk.Label('Y8', (5.44,10.84), layer=68, texttype=16))
dec4to16.add(gdstk.Label('Y9', (10.2,10.84), layer=68, texttype=16))
dec4to16.add(gdstk.Label('Y0', (5.44,1.68), layer=68, texttype=5))
dec4to16.add(gdstk.Label('Y1', (10.2,1.68), layer=68, texttype=5))
dec4to16.add(gdstk.Label('Y10', (14.96,10.84), layer=68, texttype=5))
dec4to16.add(gdstk.Label('Y11', (19.72,10.84), layer=68, texttype=5))
dec4to16.add(gdstk.Label('Y12', (5.44,16.64), layer=68, texttype=5))
dec4to16.add(gdstk.Label('Y13', (10.2,16.64), layer=68, texttype=5))
dec4to16.add(gdstk.Label('Y14', (14.96,16.64), layer=68, texttype=5))
dec4to16.add(gdstk.Label('Y15', (19.72,16.64), layer=68, texttype=5))
dec4to16.add(gdstk.Label('Y2', (14.96,1.68), layer=68, texttype=5))
dec4to16.add(gdstk.Label('Y3', (19.72,1.68), layer=68, texttype=5))
dec4to16.add(gdstk.Label('Y4', (5.44,7.48), layer=68, texttype=5))
dec4to16.add(gdstk.Label('Y5', (10.2,7.48), layer=68, texttype=5))
dec4to16.add(gdstk.Label('Y6', (14.96,7.48), layer=68, texttype=5))
dec4to16.add(gdstk.Label('Y7', (19.72,7.48), layer=68, texttype=5))
dec4to16.add(gdstk.Label('Y8', (5.44,10.84), layer=68, texttype=5))
dec4to16.add(gdstk.Label('Y9', (10.2,10.84), layer=68, texttype=5))
dec4to16.add(gdstk.Label('A0', (8.305,0.63), layer=70, texttype=16))
dec4to16.add(gdstk.Label('A1', (14.465,1.89), layer=70, texttype=16))
dec4to16.add(gdstk.Label('A2', (9.735,5.67), layer=70, texttype=16))
dec4to16.add(gdstk.Label('A3', (10.23,12.6), layer=70, texttype=16))
dec4to16.add(gdstk.Label('A0', (8.305,0.63), layer=70, texttype=5))
dec4to16.add(gdstk.Label('A1', (14.465,1.89), layer=70, texttype=5))
dec4to16.add(gdstk.Label('A2', (9.735,5.67), layer=70, texttype=5))
dec4to16.add(gdstk.Label('A3', (10.23,12.6), layer=70, texttype=5))

lib.write_gds('dec4to16.gds')
